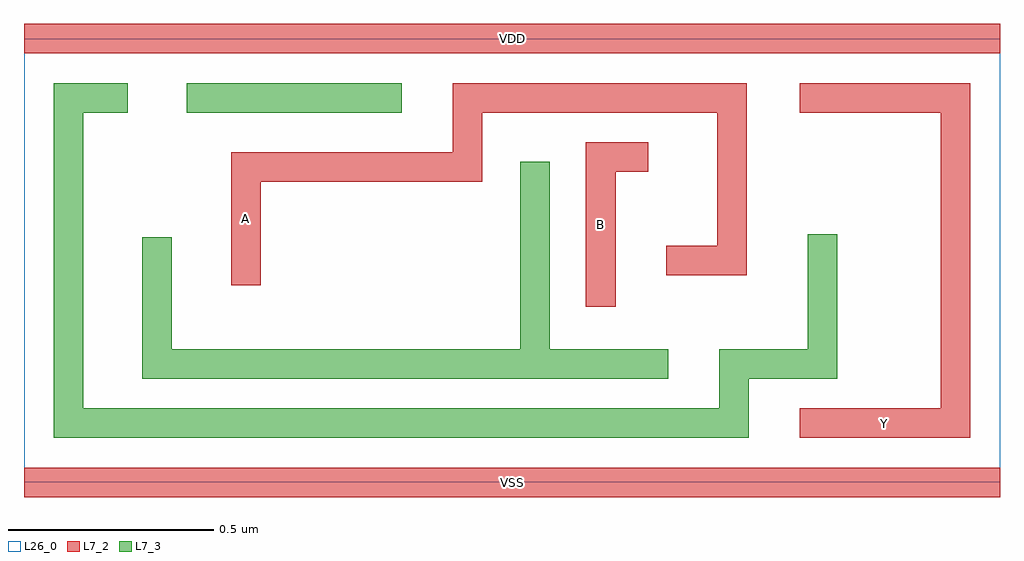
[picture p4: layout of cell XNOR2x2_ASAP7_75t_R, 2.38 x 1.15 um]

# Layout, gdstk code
import gdstk
lib = gdstk.Library(unit=1e-6, precision=1e-09)
def R(c, l, rs):  # rectangles x0, y0, x1, y1
    for r in rs: c.add(gdstk.rectangle(r[:2], r[2:], *l))
L7_2 = (7, 2)
L7_3 = (7, 3)
L26_0 = (26, 0)

xnor2x2_asap7_75t_r = lib.new_cell('XNOR2x2_ASAP7_75t_R')
R(xnor2x2_asap7_75t_r, L7_2, [(0,-0.036,2.376,0.036), (1.888,0.108,2.304,0.18), (2.232,0.108,2.304,0.972), (1.368,0.428,1.44,0.828), (0.504,0.48,0.576,0.804), (1.564,0.504,1.76,0.576), (1.688,0.504,1.76,0.972), (0.504,0.732,1.116,0.804), (1.044,0.732,1.116,0.972), (1.368,0.756,1.52,0.828), (1.044,0.9,1.76,0.972), (1.888,0.9,2.304,0.972), (0,1.044,2.376,1.116)])
R(xnor2x2_asap7_75t_r, L7_3, [(0.072,0.108,0.144,0.972), (0.072,0.108,1.764,0.18), (1.692,0.108,1.764,0.324), (0.288,0.252,0.36,0.596), (0.288,0.252,1.568,0.324), (1.208,0.252,1.28,0.78), (1.692,0.252,1.98,0.324), (1.908,0.252,1.98,0.604), (0.072,0.9,0.252,0.972), (0.396,0.9,0.92,0.972)])
R(xnor2x2_asap7_75t_r, L26_0, [(0,0,2.376,1.08)])
xnor2x2_asap7_75t_r.add(gdstk.Label('A', (0.54,0.642), layer=7, texttype=1))
xnor2x2_asap7_75t_r.add(gdstk.Label('B', (1.404,0.628), layer=7, texttype=1))
xnor2x2_asap7_75t_r.add(gdstk.Label('VDD', (1.188,1.08), layer=7, texttype=1))
xnor2x2_asap7_75t_r.add(gdstk.Label('VSS', (1.188,0), layer=7, texttype=1))
xnor2x2_asap7_75t_r.add(gdstk.Label('Y', (2.096,0.144), layer=7, texttype=1))

lib.write_gds('XNOR2x2_ASAP7_75t_R.gds')
